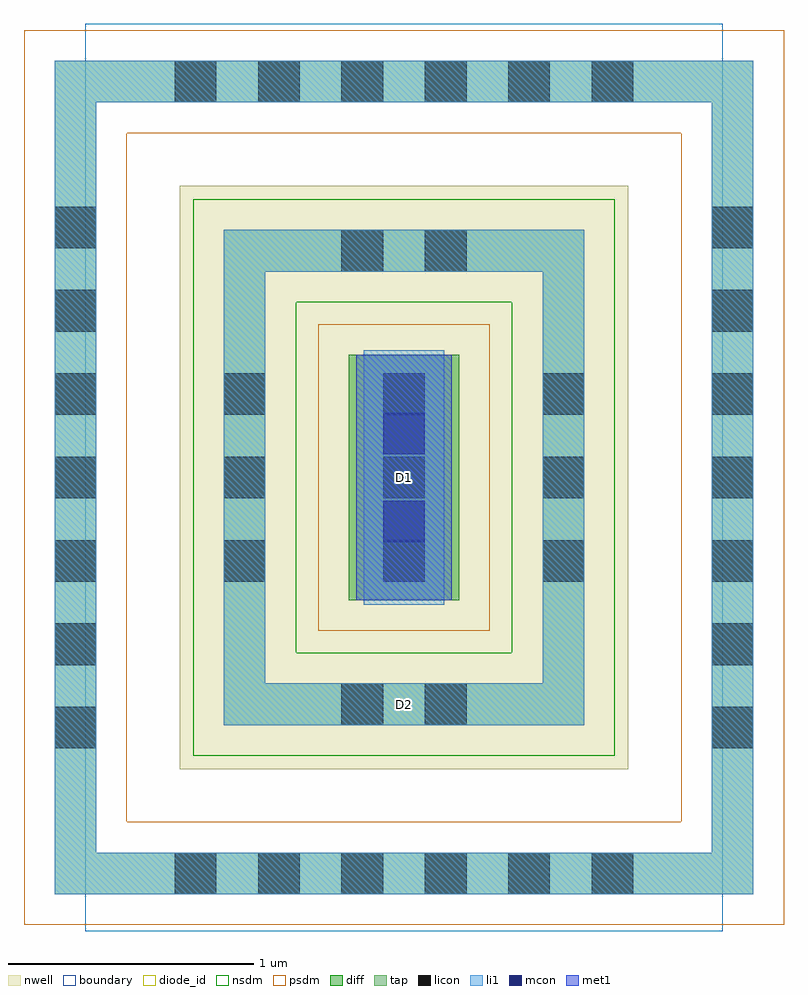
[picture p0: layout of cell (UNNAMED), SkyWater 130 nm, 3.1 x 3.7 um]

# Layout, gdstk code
import gdstk
lib = gdstk.Library(unit=1e-6, precision=1e-09)
def R(c, l, rs):  # rectangles x0, y0, x1, y1
    for r in rs: c.add(gdstk.rectangle(r[:2], r[2:], *l))
def A(c, l, x, y, w, h, nx, ny, dx, dy):  # array of equal rectangles
    R(c, l, [(x+i*dx, y+j*dy, x+i*dx+w, y+j*dy+h) for i in range(nx) for j in range(ny)])
nwell = (64, 20)
diff = (65, 20)
tap = (65, 44)
licon = (66, 44)
li1 = (67, 20)
mcon = (67, 44)
met1 = (68, 20)
diode_id = (81, 23)
nsdm = (93, 44)
psdm = (94, 20)
boundary = (235, 4)

c__unnamed_ = lib.new_cell('(UNNAMED)')
R(c__unnamed_, nwell, [(-0.915,-1.19,0.915,1.19)])
R(c__unnamed_, diff, [(-0.225,-0.5,0.225,0.5)])
R(c__unnamed_, tap, [(-1.425,-1.7,1.425,-1.53), (-1.425,-1.53,-1.255,1.53), (1.255,-1.53,1.425,1.53), (-0.735,-1.01,0.735,-0.84), (-0.735,-0.84,-0.565,0.84), (0.565,-0.84,0.735,0.84), (-0.735,0.84,0.735,1.01), (-1.425,1.53,1.425,1.7)])
A(c__unnamed_, licon, -0.935, -1.7, 0.17, 0.17, 6, 2, 0.34, 3.23)
A(c__unnamed_, licon, -1.425, -1.105, 0.17, 0.17, 1, 7, 0, 0.34)
A(c__unnamed_, licon, 1.255, -1.105, 0.17, 0.17, 1, 7, 0, 0.34)
A(c__unnamed_, licon, -0.735, -0.425, 0.17, 0.17, 3, 3, 0.65, 0.34)
R(c__unnamed_, licon, [(-0.255,-1.01,-0.085,-0.84), (0.085,-1.01,0.255,-0.84), (-0.255,0.84,-0.085,1.01), (0.085,0.84,0.255,1.01)])
R(c__unnamed_, li1, [(-1.425,-1.7,1.425,-1.53), (-1.425,-1.53,-1.255,1.53), (1.255,-1.53,1.425,1.53), (-0.735,-1.01,0.735,-0.84), (-0.735,-0.84,-0.565,0.84), (0.565,-0.84,0.735,0.84), (-0.165,-0.52,0.165,0.52), (-0.735,0.84,0.735,1.01), (-1.425,1.53,1.425,1.7)])
R(c__unnamed_, mcon, [(-0.085,-0.265,0.085,-0.095), (-0.085,0.095,0.085,0.265)])
R(c__unnamed_, met1, [(-0.195,-0.5,0.195,0.5)])
R(c__unnamed_, diode_id, [(-0.225,-0.5,0.225,0.5)])
R(c__unnamed_, nsdm, [(-0.86,-1.135,0.86,-0.715), (-0.86,-0.715,-0.44,0.715), (0.44,-0.715,0.86,0.715), (-0.86,0.715,0.86,1.135)])
R(c__unnamed_, psdm, [(-1.55,-1.825,1.55,-1.405), (-1.55,-1.405,-1.13,1.405), (1.13,-1.405,1.55,1.405), (-0.35,-0.625,0.35,0.625), (-1.55,1.405,1.55,1.825)])
R(c__unnamed_, boundary, [(-1.3,-1.85,1.3,1.85)])
c__unnamed_.add(gdstk.Label('D2', (0,-0.925), layer=67, texttype=5))
c__unnamed_.add(gdstk.Label('D1', (0,0), layer=67, texttype=5))

lib.write_gds('_UNNAMED_.gds')
